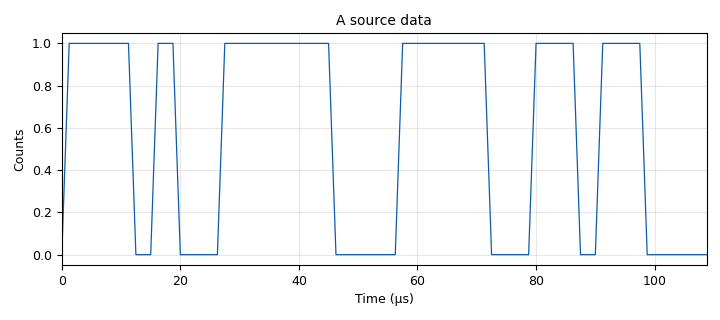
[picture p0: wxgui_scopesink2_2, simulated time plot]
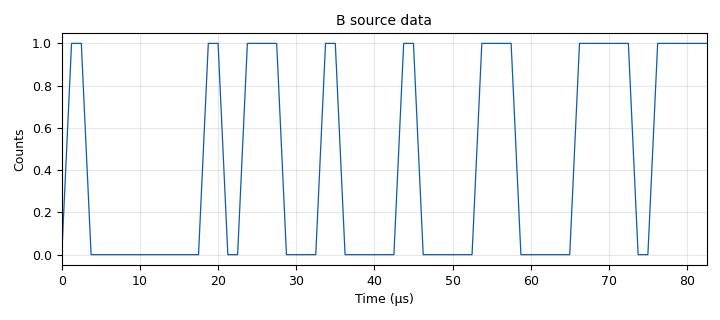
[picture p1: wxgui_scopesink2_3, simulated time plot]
<?xml version='1.0' encoding='utf-8'?>
<?grc format='1' created='3.7.11'?>
<flow_graph>
<block>
<key>options</key>
<param><key>id</key><value>received_signal</value></param>
<param><key>generate_options</key><value>wx_gui</value></param>
</block>
<block>
<key>variable_config</key>
<param><key>id</key><value>a_power</value></param>
<param><key>config_file</key><value>/Users/Andre/Desktop/CS434Project/src/config</value></param>
<param><key>value</key><value>.5</value></param>
<param><key>option</key><value>a</value></param>
<param><key>section</key><value>power</value></param>
<param><key>type</key><value>real</value></param>
<param><key>writeback</key><value>None</value></param>
</block>
<block>
<key>variable_config</key>
<param><key>id</key><value>b_power</value></param>
<param><key>config_file</key><value>/Users/Andre/Desktop/CS434Project/src/config</value></param>
<param><key>value</key><value>1</value></param>
<param><key>option</key><value>b</value></param>
<param><key>section</key><value>power</value></param>
<param><key>type</key><value>real</value></param>
<param><key>writeback</key><value>None</value></param>
</block>
<block>
<key>variable</key>
<param><key>id</key><value>samp_rate</value></param>
<param><key>value</key><value>800000</value></param>
</block>
<block>
<key>variable</key>
<param><key>id</key><value>samples_per_bit</value></param>
<param><key>value</key><value>40960</value></param>
</block>
<block>
<key>analog_const_source_x</key>
<param><key>id</key><value>analog_const_source_x_0</value></param>
<param><key>const</key><value>a_power</value></param>
<param><key>type</key><value>float</value></param>
</block>
<block>
<key>analog_random_source_x</key>
<param><key>id</key><value>analog_random_source_x_0</value></param>
<param><key>max</key><value>2</value></param>
<param><key>min</key><value>0</value></param>
<param><key>num_samps</key><value>1000</value></param>
<param><key>type</key><value>int</value></param>
<param><key>repeat</key><value>True</value></param>
</block>
<block>
<key>analog_random_source_x</key>
<param><key>id</key><value>analog_random_source_x_1</value></param>
<param><key>max</key><value>2</value></param>
<param><key>min</key><value>0</value></param>
<param><key>num_samps</key><value>1000</value></param>
<param><key>type</key><value>int</value></param>
<param><key>repeat</key><value>True</value></param>
</block>
<block>
<key>blocks_abs_xx</key>
<param><key>id</key><value>blocks_abs_xx_0</value></param>
<param><key>type</key><value>float</value></param>
</block>
<block>
<key>blocks_add_xx</key>
<param><key>id</key><value>blocks_add_xx_0</value></param>
<param><key>type</key><value>float</value></param>
</block>
<block>
<key>blocks_add_xx</key>
<param><key>id</key><value>blocks_add_xx_1</value></param>
<param><key>type</key><value>float</value></param>
</block>
<block>
<key>blocks_file_sink</key>
<param><key>id</key><value>blocks_file_sink_0</value></param>
<param><key>file</key><value>/Users/Andre/Desktop/CS434Project/output/a_signal</value></param>
<param><key>type</key><value>float</value></param>
</block>
<block>
<key>blocks_file_sink</key>
<param><key>id</key><value>blocks_file_sink_0_0</value></param>
<param><key>file</key><value>/Users/Andre/Desktop/CS434Project/output/b_signal</value></param>
<param><key>type</key><value>float</value></param>
</block>
<block>
<key>blocks_file_sink</key>
<param><key>id</key><value>blocks_file_sink_1</value></param>
<param><key>_enabled</key><value>0</value></param>
<param><key>file</key><value>/Users/Andre/Desktop/CS434Project/output/carrier</value></param>
<param><key>type</key><value>float</value></param>
</block>
<block>
<key>blocks_file_sink</key>
<param><key>id</key><value>blocks_file_sink_2</value></param>
<param><key>file</key><value>/Users/Andre/Desktop/CS434Project/output/a_srcdata</value></param>
<param><key>type</key><value>float</value></param>
</block>
<block>
<key>blocks_file_sink</key>
<param><key>id</key><value>blocks_file_sink_3</value></param>
<param><key>file</key><value>/Users/Andre/Desktop/CS434Project/output/ab_backscatter</value></param>
<param><key>type</key><value>float</value></param>
</block>
<block>
<key>blocks_file_sink</key>
<param><key>id</key><value>blocks_file_sink_4</value></param>
<param><key>file</key><value>/Users/Andre/Desktop/CS434Project/output/b_srcdata</value></param>
<param><key>type</key><value>float</value></param>
</block>
<block>
<key>blocks_file_source</key>
<param><key>id</key><value>blocks_file_source_0</value></param>
<param><key>file</key><value>/Users/Andre/Desktop/CS434Project/src/carrier</value></param>
<param><key>type</key><value>float</value></param>
<param><key>repeat</key><value>True</value></param>
</block>
<block>
<key>blocks_int_to_float</key>
<param><key>id</key><value>blocks_int_to_float_0</value></param>
<param><key>scale</key><value>1</value></param>
</block>
<block>
<key>blocks_int_to_float</key>
<param><key>id</key><value>blocks_int_to_float_1</value></param>
<param><key>scale</key><value>1</value></param>
</block>
<block>
<key>blocks_multiply_const_vxx</key>
<param><key>id</key><value>blocks_multiply_const_vxx_0</value></param>
<param><key>const</key><value>b_power</value></param>
<param><key>type</key><value>float</value></param>
</block>
<block>
<key>blocks_multiply_const_vxx</key>
<param><key>id</key><value>blocks_multiply_const_vxx_1</value></param>
<param><key>const</key><value>a_power</value></param>
<param><key>type</key><value>float</value></param>
</block>
<block>
<key>blocks_multiply_const_vxx</key>
<param><key>id</key><value>blocks_multiply_const_vxx_2</value></param>
<param><key>const</key><value>1</value></param>
<param><key>type</key><value>float</value></param>
</block>
<block>
<key>blocks_multiply_xx</key>
<param><key>id</key><value>blocks_multiply_xx_0</value></param>
<param><key>type</key><value>float</value></param>
</block>
<block>
<key>blocks_multiply_xx</key>
<param><key>id</key><value>blocks_multiply_xx_1</value></param>
<param><key>type</key><value>float</value></param>
</block>
<block>
<key>blocks_repeat</key>
<param><key>id</key><value>blocks_repeat_0</value></param>
<param><key>interp</key><value>40960</value></param>
<param><key>type</key><value>float</value></param>
</block>
<block>
<key>blocks_repeat</key>
<param><key>id</key><value>blocks_repeat_1</value></param>
<param><key>interp</key><value>40960</value></param>
<param><key>type</key><value>float</value></param>
</block>
<block>
<key>blocks_repeat</key>
<param><key>id</key><value>blocks_repeat_2</value></param>
<param><key>interp</key><value>2</value></param>
<param><key>type</key><value>int</value></param>
</block>
<block>
<key>blocks_repeat</key>
<param><key>id</key><value>blocks_repeat_3</value></param>
<param><key>interp</key><value>3</value></param>
<param><key>type</key><value>int</value></param>
</block>
<block>
<key>blocks_rms_xx</key>
<param><key>id</key><value>blocks_rms_xx_0</value></param>
<param><key>alpha</key><value>0.0001</value></param>
<param><key>type</key><value>float</value></param>
</block>
<block>
<key>blocks_throttle</key>
<param><key>id</key><value>blocks_throttle_0</value></param>
<param><key>samples_per_second</key><value>samp_rate</value></param>
<param><key>type</key><value>float</value></param>
</block>
<block>
<key>notebook</key>
<param><key>id</key><value>n</value></param>
<param><key>labels</key><value>['carrier', 'a', 'ab']</value></param>
<param><key>style</key><value>wx.NB_TOP</value></param>
</block>
<block>
<key>wxgui_numbersink2</key>
<param><key>id</key><value>wxgui_numbersink2_0</value></param>
<param><key>avg_alpha</key><value>0</value></param>
<param><key>average</key><value>False</value></param>
<param><key>decimal_places</key><value>10</value></param>
<param><key>factor</key><value>1.0</value></param>
<param><key>max_value</key><value>100</value></param>
<param><key>min_value</key><value>-100</value></param>
<param><key>notebook</key><value>n, 0</value></param>
<param><key>number_rate</key><value>15</value></param>
<param><key>peak_hold</key><value>False</value></param>
<param><key>ref_level</key><value>0</value></param>
<param><key>samp_rate</key><value>samp_rate</value></param>
<param><key>show_gauge</key><value>True</value></param>
<param><key>title</key><value>Ivan Number Sink</value></param>
<param><key>type</key><value>float</value></param>
<param><key>units</key><value>Units</value></param>
</block>
<block>
<key>wxgui_numbersink2</key>
<param><key>id</key><value>wxgui_numbersink2_1</value></param>
<param><key>avg_alpha</key><value>0</value></param>
<param><key>average</key><value>False</value></param>
<param><key>decimal_places</key><value>10</value></param>
<param><key>factor</key><value>1.0</value></param>
<param><key>max_value</key><value>100</value></param>
<param><key>min_value</key><value>-100</value></param>
<param><key>notebook</key><value>n,0</value></param>
<param><key>number_rate</key><value>15</value></param>
<param><key>peak_hold</key><value>False</value></param>
<param><key>ref_level</key><value>0</value></param>
<param><key>samp_rate</key><value>samp_rate</value></param>
<param><key>show_gauge</key><value>True</value></param>
<param><key>title</key><value>A Power</value></param>
<param><key>type</key><value>float</value></param>
<param><key>units</key><value>Units</value></param>
</block>
<block>
<key>wxgui_scopesink2</key>
<param><key>id</key><value>wxgui_scopesink2_0</value></param>
<param><key>ac_couple</key><value>False</value></param>
<param><key>notebook</key><value>n, 1</value></param>
<param><key>num_inputs</key><value>1</value></param>
<param><key>samp_rate</key><value>samp_rate</value></param>
<param><key>t_scale</key><value>0</value></param>
<param><key>title</key><value>A Backscatter Signal</value></param>
<param><key>trig_mode</key><value>wxgui.TRIG_MODE_AUTO</value></param>
<param><key>type</key><value>float</value></param>
<param><key>v_offset</key><value>0</value></param>
<param><key>v_scale</key><value>0</value></param>
<param><key>xy_mode</key><value>False</value></param>
<param><key>y_axis_label</key><value>Counts</value></param>
</block>
<block>
<key>wxgui_scopesink2</key>
<param><key>id</key><value>wxgui_scopesink2_1</value></param>
<param><key>ac_couple</key><value>False</value></param>
<param><key>notebook</key><value>n, 0</value></param>
<param><key>num_inputs</key><value>1</value></param>
<param><key>samp_rate</key><value>samp_rate</value></param>
<param><key>t_scale</key><value>0</value></param>
<param><key>title</key><value>Carrier Wave</value></param>
<param><key>trig_mode</key><value>wxgui.TRIG_MODE_AUTO</value></param>
<param><key>type</key><value>float</value></param>
<param><key>v_offset</key><value>0</value></param>
<param><key>v_scale</key><value>0</value></param>
<param><key>xy_mode</key><value>False</value></param>
<param><key>y_axis_label</key><value>Counts</value></param>
</block>
<block>
<key>wxgui_scopesink2</key>
<param><key>id</key><value>wxgui_scopesink2_2</value></param>
<param><key>ac_couple</key><value>False</value></param>
<param><key>notebook</key><value>n ,1</value></param>
<param><key>num_inputs</key><value>1</value></param>
<param><key>samp_rate</key><value>samp_rate</value></param>
<param><key>t_scale</key><value>0</value></param>
<param><key>title</key><value>A source data</value></param>
<param><key>trig_mode</key><value>wxgui.TRIG_MODE_AUTO</value></param>
<param><key>type</key><value>float</value></param>
<param><key>v_offset</key><value>0</value></param>
<param><key>v_scale</key><value>0</value></param>
<param><key>xy_mode</key><value>False</value></param>
<param><key>y_axis_label</key><value>Counts</value></param>
</block>
<block>
<key>wxgui_scopesink2</key>
<param><key>id</key><value>wxgui_scopesink2_3</value></param>
<param><key>ac_couple</key><value>False</value></param>
<param><key>notebook</key><value>n, 2</value></param>
<param><key>num_inputs</key><value>1</value></param>
<param><key>samp_rate</key><value>samp_rate</value></param>
<param><key>t_scale</key><value>0</value></param>
<param><key>title</key><value>B source data</value></param>
<param><key>trig_mode</key><value>wxgui.TRIG_MODE_AUTO</value></param>
<param><key>type</key><value>float</value></param>
<param><key>v_offset</key><value>0</value></param>
<param><key>v_scale</key><value>0</value></param>
<param><key>xy_mode</key><value>False</value></param>
<param><key>y_axis_label</key><value>Counts</value></param>
</block>
<block>
<key>wxgui_scopesink2</key>
<param><key>id</key><value>wxgui_scopesink2_4</value></param>
<param><key>ac_couple</key><value>False</value></param>
<param><key>notebook</key><value>n, 2</value></param>
<param><key>num_inputs</key><value>1</value></param>
<param><key>samp_rate</key><value>samp_rate</value></param>
<param><key>t_scale</key><value>0</value></param>
<param><key>title</key><value>A+B backscatter signal</value></param>
<param><key>trig_mode</key><value>wxgui.TRIG_MODE_AUTO</value></param>
<param><key>type</key><value>float</value></param>
<param><key>v_offset</key><value>0</value></param>
<param><key>v_scale</key><value>0</value></param>
<param><key>xy_mode</key><value>False</value></param>
<param><key>y_axis_label</key><value>Counts</value></param>
</block>
<connection><source_block_id>analog_const_source_x_0</source_block_id><sink_block_id>wxgui_numbersink2_1</sink_block_id><source_key>0</source_key><sink_key>0</sink_key></connection>
<connection><source_block_id>analog_random_source_x_0</source_block_id><sink_block_id>blocks_repeat_3</sink_block_id><source_key>0</source_key><sink_key>0</sink_key></connection>
<connection><source_block_id>analog_random_source_x_1</source_block_id><sink_block_id>blocks_repeat_2</sink_block_id><source_key>0</source_key><sink_key>0</sink_key></connection>
<connection><source_block_id>blocks_abs_xx_0</source_block_id><sink_block_id>blocks_multiply_const_vxx_2</sink_block_id><source_key>0</source_key><sink_key>0</sink_key></connection>
<connection><source_block_id>blocks_add_xx_0</source_block_id><sink_block_id>blocks_add_xx_1</sink_block_id><source_key>0</source_key><sink_key>0</sink_key></connection>
<connection><source_block_id>blocks_add_xx_0</source_block_id><sink_block_id>blocks_file_sink_0</sink_block_id><source_key>0</source_key><sink_key>0</sink_key></connection>
<connection><source_block_id>blocks_add_xx_0</source_block_id><sink_block_id>blocks_throttle_0</sink_block_id><source_key>0</source_key><sink_key>0</sink_key></connection>
<connection><source_block_id>blocks_add_xx_1</source_block_id><sink_block_id>blocks_file_sink_3</sink_block_id><source_key>0</source_key><sink_key>0</sink_key></connection>
<connection><source_block_id>blocks_add_xx_1</source_block_id><sink_block_id>wxgui_scopesink2_4</sink_block_id><source_key>0</source_key><sink_key>0</sink_key></connection>
<connection><source_block_id>blocks_file_source_0</source_block_id><sink_block_id>blocks_abs_xx_0</sink_block_id><source_key>0</source_key><sink_key>0</sink_key></connection>
<connection><source_block_id>blocks_int_to_float_0</source_block_id><sink_block_id>blocks_file_sink_2</sink_block_id><source_key>0</source_key><sink_key>0</sink_key></connection>
<connection><source_block_id>blocks_int_to_float_0</source_block_id><sink_block_id>blocks_repeat_0</sink_block_id><source_key>0</source_key><sink_key>0</sink_key></connection>
<connection><source_block_id>blocks_int_to_float_0</source_block_id><sink_block_id>wxgui_scopesink2_2</sink_block_id><source_key>0</source_key><sink_key>0</sink_key></connection>
<connection><source_block_id>blocks_int_to_float_1</source_block_id><sink_block_id>blocks_file_sink_4</sink_block_id><source_key>0</source_key><sink_key>0</sink_key></connection>
<connection><source_block_id>blocks_int_to_float_1</source_block_id><sink_block_id>blocks_repeat_1</sink_block_id><source_key>0</source_key><sink_key>0</sink_key></connection>
<connection><source_block_id>blocks_int_to_float_1</source_block_id><sink_block_id>wxgui_scopesink2_3</sink_block_id><source_key>0</source_key><sink_key>0</sink_key></connection>
<connection><source_block_id>blocks_multiply_const_vxx_0</source_block_id><sink_block_id>blocks_add_xx_1</sink_block_id><source_key>0</source_key><sink_key>1</sink_key></connection>
<connection><source_block_id>blocks_multiply_const_vxx_0</source_block_id><sink_block_id>blocks_file_sink_0_0</sink_block_id><source_key>0</source_key><sink_key>0</sink_key></connection>
<connection><source_block_id>blocks_multiply_const_vxx_1</source_block_id><sink_block_id>blocks_add_xx_0</sink_block_id><source_key>0</source_key><sink_key>0</sink_key></connection>
<connection><source_block_id>blocks_multiply_const_vxx_2</source_block_id><sink_block_id>blocks_add_xx_0</sink_block_id><source_key>0</source_key><sink_key>1</sink_key></connection>
<connection><source_block_id>blocks_multiply_const_vxx_2</source_block_id><sink_block_id>blocks_file_sink_1</sink_block_id><source_key>0</source_key><sink_key>0</sink_key></connection>
<connection><source_block_id>blocks_multiply_const_vxx_2</source_block_id><sink_block_id>blocks_multiply_xx_0</sink_block_id><source_key>0</source_key><sink_key>1</sink_key></connection>
<connection><source_block_id>blocks_multiply_const_vxx_2</source_block_id><sink_block_id>blocks_multiply_xx_1</sink_block_id><source_key>0</source_key><sink_key>0</sink_key></connection>
<connection><source_block_id>blocks_multiply_const_vxx_2</source_block_id><sink_block_id>blocks_rms_xx_0</sink_block_id><source_key>0</source_key><sink_key>0</sink_key></connection>
<connection><source_block_id>blocks_multiply_const_vxx_2</source_block_id><sink_block_id>wxgui_scopesink2_1</sink_block_id><source_key>0</source_key><sink_key>0</sink_key></connection>
<connection><source_block_id>blocks_multiply_xx_0</source_block_id><sink_block_id>blocks_multiply_const_vxx_1</sink_block_id><source_key>0</source_key><sink_key>0</sink_key></connection>
<connection><source_block_id>blocks_multiply_xx_1</source_block_id><sink_block_id>blocks_multiply_const_vxx_0</sink_block_id><source_key>0</source_key><sink_key>0</sink_key></connection>
<connection><source_block_id>blocks_repeat_0</source_block_id><sink_block_id>blocks_multiply_xx_0</sink_block_id><source_key>0</source_key><sink_key>0</sink_key></connection>
<connection><source_block_id>blocks_repeat_1</source_block_id><sink_block_id>blocks_multiply_xx_1</sink_block_id><source_key>0</source_key><sink_key>1</sink_key></connection>
<connection><source_block_id>blocks_repeat_2</source_block_id><sink_block_id>blocks_int_to_float_1</sink_block_id><source_key>0</source_key><sink_key>0</sink_key></connection>
<connection><source_block_id>blocks_repeat_3</source_block_id><sink_block_id>blocks_int_to_float_0</sink_block_id><source_key>0</source_key><sink_key>0</sink_key></connection>
<connection><source_block_id>blocks_rms_xx_0</source_block_id><sink_block_id>wxgui_numbersink2_0</sink_block_id><source_key>0</source_key><sink_key>0</sink_key></connection>
<connection><source_block_id>blocks_throttle_0</source_block_id><sink_block_id>wxgui_scopesink2_0</sink_block_id><source_key>0</source_key><sink_key>0</sink_key></connection>
</flow_graph>
